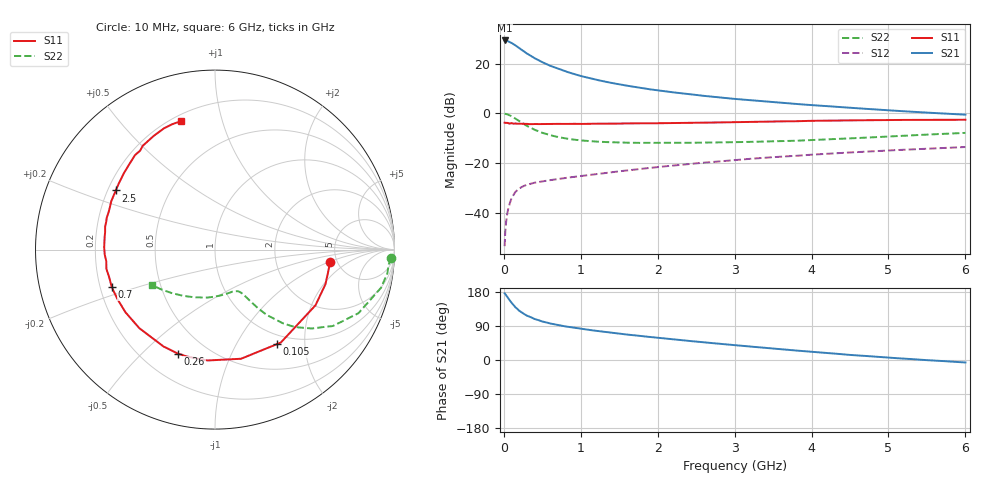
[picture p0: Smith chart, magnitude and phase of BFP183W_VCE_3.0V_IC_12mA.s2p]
! Infineon Technologies  Discrete & RF Semiconductors
! BFP183W
! VCE = 3.0 V,  IC =  12 mA
! Common Emitter S-Parameters:  Jan 2016
# GHz  S  MA  R  50
!  f  S11  S21  S12  S22
! GHz  MAG  ANG  MAG  ANG  MAG  ANG  MAG  ANG
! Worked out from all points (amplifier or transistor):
!   210 points, 10 MHz to 6 GHz, reference 50 ohm
!   highest |S21| = 29.3 dB at 10 MHz (marker M1)
!   |S21| within 3 dB of that: start of sweep to 196 MHz
!   unconditionally stable (mu >= 1): 1.22 GHz to 5.31 GHz
!   at 185 MHz: K = 0.25, MSG = 28.7 dB, |S12| = -30.7 dB
!   at 1.52 GHz: K = 1.08, MAG = 15.7 dB, |S12| = -23.3 dB
!   at 6 GHz: K = 0.98, MSG = 6.5 dB, |S12| = -13.6 dB
!   S11 on the Smith chart (normalised r, x): 10 MHz: 4.40, -1.00; 105 MHz: 0.85, -1.49; 260 MHz: 0.35, -0.65; 700 MHz: 0.25, -0.16; 2.5 GHz: 0.23, +0.26; 6 GHz: 0.24, +0.75
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0.01  0.6453 -5.9  29.34 176.0  0.0021 93.3  0.9794 -2.6
0.03  0.6448 -17.5  29.25 170.7  0.0065 84.0  0.9694 -7.8
0.05  0.6401 -29.0  28.58 164.5  0.0106 77.2  0.9496 -12.9
0.1  0.6346 -54.7  26.24 150.9  0.0194 66.5  0.8743 -23.9
0.105  0.6296 -56.8  25.91 149.9  0.02 65.4  0.8643 -24.7
0.15  0.6252 -76.6  23.42 139.2  0.026 58.2  0.7832 -32.9
0.2  0.6192 -93.9  20.56 130.0  0.0305 52.2  0.6956 -39.2
0.26  0.6153 -109.6  17.71 121.8  0.0343 47.3  0.608 -44.7
0.3  0.6113 -118.0  16.02 117.0  0.0363 44.8  0.5568 -47.4
0.4  0.6078 -133.9  12.89 108.2  0.0399 41.4  0.4656 -51.6
0.5  0.609 -145.0  10.7 101.6  0.0424 40.3  0.404 -53.8
0.6  0.6096 -153.4  9.094 96.5  0.0449 40.4  0.3624 -55.1
0.7  0.6121 -160.1  7.944 92.3  0.0472 40.7  0.3326 -56.1
0.8  0.6093 -165.4  6.982 88.6  0.0496 41.5  0.3117 -56.9
1.02  0.6102 -174.6  5.543 81.9  0.0548 43.4  0.2825 -58.6
1.4  0.619 173.4  4.09 71.9  0.0649 46.4  0.2607 -62.5
2.02  0.6306 158.6  2.871 58.3  0.083 49.2  0.2531 -71.3
2.5  0.6439 149.2  2.336 48.6  0.0979 49.2  0.2555 -79.9
3.1  0.6658 138.4  1.892 37.5  0.1175 47.9  0.2632 -92.1
4.1  0.7071 123.5  1.428 20.1  0.1496 43.8  0.2925 -115.2
5.1  0.7338 112.0  1.122 4.9  0.1811 38.6  0.3468 -136.5
6  0.7405 104.6  0.938 -6.6  0.209 33.7  0.4028 -150.4
